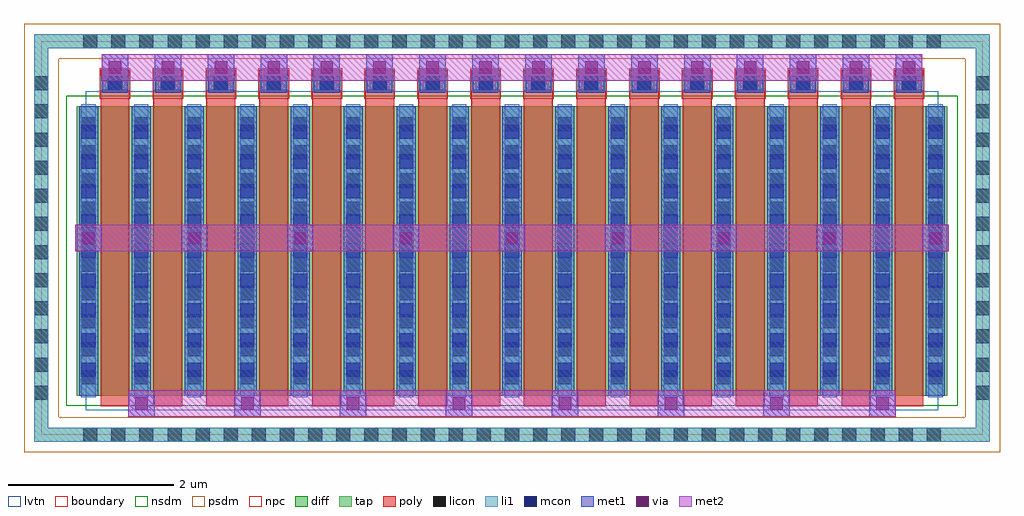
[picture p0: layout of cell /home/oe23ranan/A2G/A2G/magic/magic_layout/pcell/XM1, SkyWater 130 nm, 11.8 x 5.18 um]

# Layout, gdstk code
import gdstk
lib = gdstk.Library(unit=1e-6, precision=1e-09)
def R(c, l, rs):  # rectangles x0, y0, x1, y1
    for r in rs: c.add(gdstk.rectangle(r[:2], r[2:], *l))
def A(c, l, x, y, w, h, nx, ny, dx, dy):  # array of equal rectangles
    R(c, l, [(x+i*dx, y+j*dy, x+i*dx+w, y+j*dy+h) for i in range(nx) for j in range(ny)])
diff = (65, 20)
tap = (65, 44)
poly = (66, 20)
licon = (66, 44)
li1 = (67, 20)
mcon = (67, 44)
met1 = (68, 20)
via = (68, 44)
met2 = (69, 20)
nsdm = (93, 44)
psdm = (94, 20)
npc = (95, 20)
lvtn = (125, 44)
boundary = (235, 4)

via_m1_m2_1 = lib.new_cell('via_M1_M2_1')
R(via_m1_m2_1, met1, [(-0.16,-0.16,0.16,0.16)])
R(via_m1_m2_1, via, [(-0.075,-0.075,0.075,0.075)])
R(via_m1_m2_1, met2, [(-0.16,-0.16,0.16,0.16)])

xm1_origin = lib.new_cell('XM1_origin')
R(xm1_origin, diff, [(-5.265,-1.905,5.265,1.595)])
R(xm1_origin, tap, [(-5.775,-2.465,5.775,-2.295), (-5.775,-2.295,-5.605,2.295), (5.605,-2.295,5.775,2.295), (-5.775,2.295,5.775,2.465)])
A(xm1_origin, poly, -4.975, -2.035, 0.35, 4.07, 16, 1, 0.64, 0)
A(xm1_origin, licon, -5.185, -2.465, 0.17, 0.17, 31, 2, 0.34, 4.76)
A(xm1_origin, licon, -5.775, -1.955, 0.17, 0.17, 1, 12, 0, 0.34)
A(xm1_origin, licon, 5.605, -1.955, 0.17, 0.17, 1, 12, 0, 0.34)
A(xm1_origin, licon, -5.205, -1.77, 0.17, 0.17, 17, 10, 0.64, 0.34)
A(xm1_origin, licon, -4.885, 1.785, 0.17, 0.17, 16, 1, 0.64, 0)
A(xm1_origin, li1, -5.205, -1.925, 0.17, 3.54, 17, 1, 0.64, 0)
A(xm1_origin, li1, -4.975, 1.785, 0.35, 0.17, 16, 1, 0.64, 0)
R(xm1_origin, li1, [(-5.775,-2.465,5.775,-2.295), (-5.775,-2.295,-5.605,2.295), (5.605,-2.295,5.775,2.295), (-5.775,2.295,5.775,2.465)])
A(xm1_origin, mcon, -5.205, -1.68, 0.17, 0.17, 17, 9, 0.64, 0.36)
A(xm1_origin, mcon, -4.885, 1.785, 0.17, 0.17, 16, 1, 0.64, 0)
A(xm1_origin, met1, -5.235, -1.905, 0.23, 3.5, 17, 1, 0.64, 0)
A(xm1_origin, met1, -4.955, 1.755, 0.31, 0.23, 16, 1, 0.64, 0)
R(xm1_origin, nsdm, [(-5.39,-2.03,5.39,1.72)])
R(xm1_origin, psdm, [(-5.9,-2.59,5.9,-2.17), (-5.9,-2.17,-5.48,2.17), (5.48,-2.17,5.9,2.17), (-5.9,2.17,5.9,2.59)])
A(xm1_origin, npc, -4.985, 1.685, 0.37, 0.37, 16, 1, 0.64, 0)
R(xm1_origin, lvtn, [(-5.155,-2.085,5.155,1.775)])
R(xm1_origin, boundary, [(-5.69,-2.38,5.69,2.38)])
xm1_origin.add(gdstk.Label('G', (-4.8,1.87), layer=68, texttype=5))
xm1_origin.add(gdstk.Label('G', (-4.16,1.87), layer=68, texttype=5))
xm1_origin.add(gdstk.Label('G', (-3.52,1.87), layer=68, texttype=5))
xm1_origin.add(gdstk.Label('G', (-2.88,1.87), layer=68, texttype=5))
xm1_origin.add(gdstk.Label('G', (-2.24,1.87), layer=68, texttype=5))
xm1_origin.add(gdstk.Label('G', (-1.6,1.87), layer=68, texttype=5))
xm1_origin.add(gdstk.Label('G', (-0.96,1.87), layer=68, texttype=5))
xm1_origin.add(gdstk.Label('G', (-0.32,1.87), layer=68, texttype=5))
xm1_origin.add(gdstk.Label('G', (0.32,1.87), layer=68, texttype=5))
xm1_origin.add(gdstk.Label('G', (0.96,1.87), layer=68, texttype=5))
xm1_origin.add(gdstk.Label('G', (1.6,1.87), layer=68, texttype=5))
xm1_origin.add(gdstk.Label('G', (2.24,1.87), layer=68, texttype=5))
xm1_origin.add(gdstk.Label('G', (2.88,1.87), layer=68, texttype=5))
xm1_origin.add(gdstk.Label('G', (3.52,1.87), layer=68, texttype=5))
xm1_origin.add(gdstk.Label('G', (4.16,1.87), layer=68, texttype=5))
xm1_origin.add(gdstk.Label('G', (4.8,1.87), layer=68, texttype=5))
xm1_origin.add(gdstk.Label('D', (-5.12,-0.155), layer=68, texttype=5))
xm1_origin.add(gdstk.Label('S', (-4.48,-0.155), layer=68, texttype=5))
xm1_origin.add(gdstk.Label('D', (-3.84,-0.155), layer=68, texttype=5))
xm1_origin.add(gdstk.Label('S', (-3.2,-0.155), layer=68, texttype=5))
xm1_origin.add(gdstk.Label('D', (-2.56,-0.155), layer=68, texttype=5))
xm1_origin.add(gdstk.Label('S', (-1.92,-0.155), layer=68, texttype=5))
xm1_origin.add(gdstk.Label('D', (-1.28,-0.155), layer=68, texttype=5))
xm1_origin.add(gdstk.Label('S', (-0.64,-0.155), layer=68, texttype=5))
xm1_origin.add(gdstk.Label('D', (0,-0.155), layer=68, texttype=5))
xm1_origin.add(gdstk.Label('S', (0.64,-0.155), layer=68, texttype=5))
xm1_origin.add(gdstk.Label('D', (1.28,-0.155), layer=68, texttype=5))
xm1_origin.add(gdstk.Label('S', (1.92,-0.155), layer=68, texttype=5))
xm1_origin.add(gdstk.Label('D', (2.56,-0.155), layer=68, texttype=5))
xm1_origin.add(gdstk.Label('S', (3.2,-0.155), layer=68, texttype=5))
xm1_origin.add(gdstk.Label('D', (3.84,-0.155), layer=68, texttype=5))
xm1_origin.add(gdstk.Label('S', (4.48,-0.155), layer=68, texttype=5))
xm1_origin.add(gdstk.Label('D', (5.12,-0.155), layer=68, texttype=5))

c__home_oe23ranan_a2g_a2g_ = lib.new_cell('/home/oe23ranan/A2G/A2G/magic/magic_layout/pcell/XM1')
R(c__home_oe23ranan_a2g_a2g_, met2, [(-4.64,-2.16,4.64,-1.84), (-5.28,-0.16,5.28,0.16), (-4.96,1.9,4.96,2.22)])
c__home_oe23ranan_a2g_a2g_.add(gdstk.Reference(via_m1_m2_1, (-5.12,0)))
c__home_oe23ranan_a2g_a2g_.add(gdstk.Reference(via_m1_m2_1, (-3.84,0)))
c__home_oe23ranan_a2g_a2g_.add(gdstk.Reference(via_m1_m2_1, (-4.48,-2)))
c__home_oe23ranan_a2g_a2g_.add(gdstk.Reference(via_m1_m2_1, (-2.56,0)))
c__home_oe23ranan_a2g_a2g_.add(gdstk.Reference(via_m1_m2_1, (-3.2,-2)))
c__home_oe23ranan_a2g_a2g_.add(gdstk.Reference(via_m1_m2_1, (-1.92,-2)))
c__home_oe23ranan_a2g_a2g_.add(gdstk.Reference(via_m1_m2_1, (-0.64,-2)))
c__home_oe23ranan_a2g_a2g_.add(gdstk.Reference(via_m1_m2_1, (-1.28,0)))
c__home_oe23ranan_a2g_a2g_.add(gdstk.Reference(via_m1_m2_1, (0.64,-2)))
c__home_oe23ranan_a2g_a2g_.add(gdstk.Reference(via_m1_m2_1, (0,0)))
c__home_oe23ranan_a2g_a2g_.add(gdstk.Reference(via_m1_m2_1, (1.28,0)))
c__home_oe23ranan_a2g_a2g_.add(gdstk.Reference(via_m1_m2_1, (1.92,-2)))
c__home_oe23ranan_a2g_a2g_.add(gdstk.Reference(via_m1_m2_1, (2.56,0)))
c__home_oe23ranan_a2g_a2g_.add(gdstk.Reference(via_m1_m2_1, (3.2,-2)))
c__home_oe23ranan_a2g_a2g_.add(gdstk.Reference(via_m1_m2_1, (3.84,0)))
c__home_oe23ranan_a2g_a2g_.add(gdstk.Reference(via_m1_m2_1, (4.48,-2)))
c__home_oe23ranan_a2g_a2g_.add(gdstk.Reference(via_m1_m2_1, (5.12,0)))
c__home_oe23ranan_a2g_a2g_.add(gdstk.Reference(via_m1_m2_1, (4.8,2.06)))
c__home_oe23ranan_a2g_a2g_.add(gdstk.Reference(via_m1_m2_1, (4.16,2.06)))
c__home_oe23ranan_a2g_a2g_.add(gdstk.Reference(via_m1_m2_1, (3.52,2.06)))
c__home_oe23ranan_a2g_a2g_.add(gdstk.Reference(via_m1_m2_1, (2.88,2.06)))
c__home_oe23ranan_a2g_a2g_.add(gdstk.Reference(via_m1_m2_1, (2.24,2.06)))
c__home_oe23ranan_a2g_a2g_.add(gdstk.Reference(via_m1_m2_1, (1.6,2.06)))
c__home_oe23ranan_a2g_a2g_.add(gdstk.Reference(via_m1_m2_1, (0.96,2.06)))
c__home_oe23ranan_a2g_a2g_.add(gdstk.Reference(via_m1_m2_1, (0.32,2.06)))
c__home_oe23ranan_a2g_a2g_.add(gdstk.Reference(via_m1_m2_1, (-0.32,2.06)))
c__home_oe23ranan_a2g_a2g_.add(gdstk.Reference(via_m1_m2_1, (-0.96,2.06)))
c__home_oe23ranan_a2g_a2g_.add(gdstk.Reference(via_m1_m2_1, (-1.6,2.06)))
c__home_oe23ranan_a2g_a2g_.add(gdstk.Reference(via_m1_m2_1, (-2.24,2.06)))
c__home_oe23ranan_a2g_a2g_.add(gdstk.Reference(via_m1_m2_1, (-2.88,2.06)))
c__home_oe23ranan_a2g_a2g_.add(gdstk.Reference(via_m1_m2_1, (-3.52,2.06)))
c__home_oe23ranan_a2g_a2g_.add(gdstk.Reference(via_m1_m2_1, (-4.16,2.06)))
c__home_oe23ranan_a2g_a2g_.add(gdstk.Reference(via_m1_m2_1, (-4.8,2.06)))
c__home_oe23ranan_a2g_a2g_.add(gdstk.Reference(xm1_origin, (0,0)))

lib.write_gds('_home_oe23ranan_A2G_A2G_magic_magic_layout_pcell_XM1.gds')
